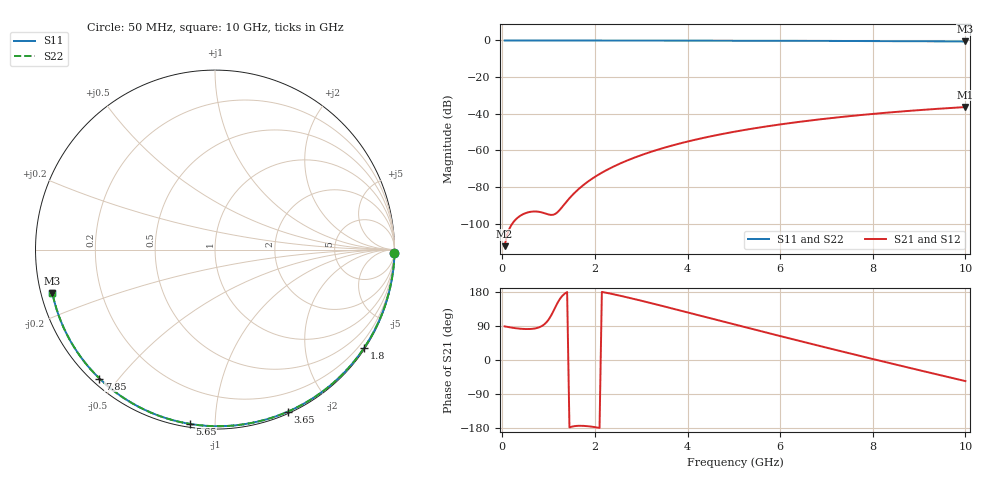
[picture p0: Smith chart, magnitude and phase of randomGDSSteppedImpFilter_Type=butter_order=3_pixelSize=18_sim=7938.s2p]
! freq	dB(S11)	phase(S11)	dB(S12)	phase(S12)
!  dB(S21)	phase(S21)	dB(S22)	phase(S22)
!S-par simulation data
#  GHz  S  DB  R 50
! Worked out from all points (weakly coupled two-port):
!   200 points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, 50 MHz to 10 GHz, reference 50 ohm
!   highest |S21| = -36.39 dB at 10 GHz (marker M1); lowest = -112.4 dB at 50 MHz (marker M2)
!   lowest |S11| = -0.6 dB at 10 GHz (marker M3), VSWR 31.26, Z = 1.63 - j6.55 ohm
!   |S11| at or under -10 dB: nowhere
!   |S22| runs from -0.6 to 0.0 dB; largest |S21 - S12| = 0
!   S11 on the Smith chart (normalised r, x): 50 MHz: open; 1.8 GHz: 0.03, -3.34; 3.65 GHz: 0.02, -1.55; 5.65 GHz: 0.02, -0.86; 7.85 GHz: 0.02, -0.45; 10 GHz: 0.03, -0.13
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0.05  -0.00 -0.9  -112.37 88.8  -112.37 88.8  -0.00 -0.9
0.45  -0.01 -8.5  -94.89 82.0  -94.89 82.0  -0.01 -8.5
0.85  -0.02 -15.9  -93.91 89.4  -93.91 89.4  -0.02 -15.9
1.7  -0.04 -31.5  -80.04 -173.6  -80.04 -173.6  -0.04 -31.5
1.75  -0.04 -32.4  -79.00 -173.8  -79.00 -173.8  -0.04 -32.4
1.8  -0.04 -33.3  -78.02 -174.2  -78.02 -174.2  -0.04 -33.3
2.1  -0.05 -38.7  -72.96 -179.2  -72.96 -179.2  -0.05 -38.7
2.3  -0.05 -42.3  -70.18 176.1  -70.18 176.1  -0.05 -42.3
2.5  -0.06 -45.9  -67.73 170.9  -67.73 170.9  -0.06 -45.9
2.9  -0.07 -52.9  -63.56 159.4  -63.56 159.4  -0.07 -52.9
3.4  -0.08 -61.5  -59.33 144.3  -59.33 144.3  -0.08 -61.5
3.65  -0.09 -65.8  -57.51 136.6  -57.51 136.6  -0.09 -65.8
4.3  -0.11 -76.6  -53.46 116.2  -53.46 116.2  -0.11 -76.6
5.05  -0.14 -88.8  -49.68 92.7  -49.68 92.7  -0.14 -88.8
5.65  -0.17 -98.3  -47.17 74.0  -47.17 74.0  -0.17 -98.3
6.15  -0.19 -106.0  -45.34 58.5  -45.34 58.5  -0.19 -106.0
6.7  -0.23 -114.5  -43.57 41.7  -43.57 41.7  -0.23 -114.5
7.25  -0.26 -122.8  -41.99 25.0  -41.99 25.0  -0.26 -122.8
7.85  -0.31 -131.9  -40.48 7.0  -40.48 7.0  -0.31 -131.9
8.35  -0.36 -139.4  -39.35 -7.8  -39.35 -7.8  -0.36 -139.4
9.2  -0.45 -152.4  -37.69 -32.6  -37.69 -32.6  -0.45 -152.4
10  -0.56 -165.1  -36.39 -55.7  -36.39 -55.7  -0.56 -165.1
